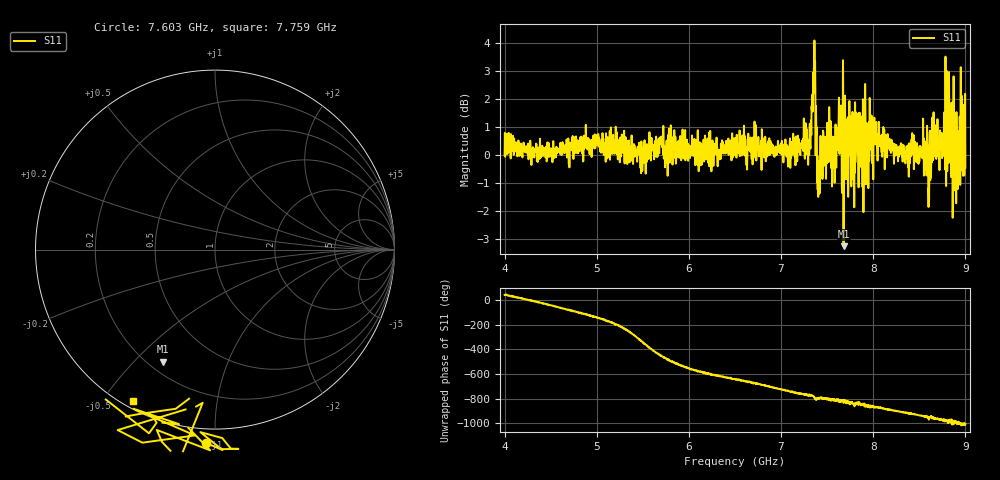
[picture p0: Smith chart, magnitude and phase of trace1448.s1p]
! Created with skrf 1.8.0 (http://scikit-rf.org).
# Hz S RI R 50.0
!freq ReS11 ImS11
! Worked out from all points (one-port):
!   1601 points, 4 GHz to 9 GHz, reference 50 ohm
!   lowest |S11| = -3.2 dB at 7.678 GHz (marker M1), VSWR 5.43, Z = 12.8 - j30.4 ohm
!   |S11| at or under -10 dB: nowhere
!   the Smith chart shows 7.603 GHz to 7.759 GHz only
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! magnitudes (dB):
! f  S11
! 4 GHz  0.0
! 4.625 GHz  0.0
! 5.25 GHz  -0.3
! 5.697 GHz  0.4
! 5.875 GHz  -0.1
! 6.5 GHz  0.2
! 7.125 GHz  0.0
! 7.294 GHz  -0.3
! 7.319 GHz  0.2
! 7.347 GHz  2.5
! 7.362 GHz  4.1
! 7.4 GHz  -0.6
! 7.416 GHz  -1.3
! 7.516 GHz  -0.2
! 7.575 GHz  0.0
! 7.631 GHz  1.4
! 7.678 GHz  -3.2
! 7.75 GHz  0.2
! 8.038 GHz  0.5
! 8.375 GHz  0.1
! 8.522 GHz  0.1
! 8.612 GHz  0.8
! 8.656 GHz  1.5
! 8.709 GHz  0.3
! 8.809 GHz  2.1
! 8.875 GHz  0.1
! 8.972 GHz  0.7
! 9 GHz  -0.4
